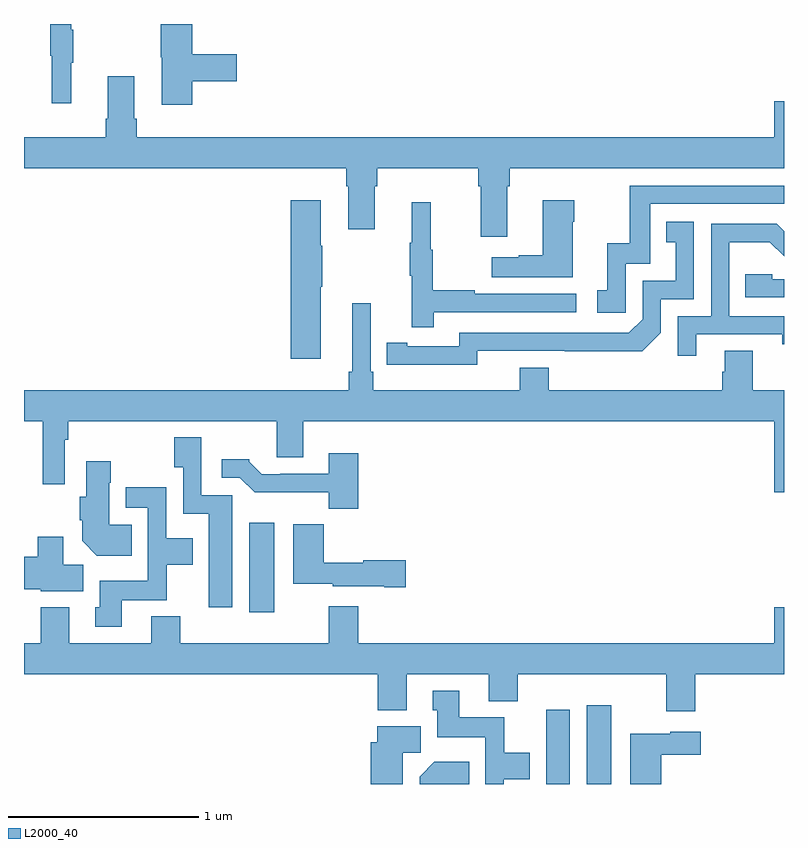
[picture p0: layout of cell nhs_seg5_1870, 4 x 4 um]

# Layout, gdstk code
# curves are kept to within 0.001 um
import gdstk
lib = gdstk.Library(unit=1e-6, precision=1e-09)
def R(c, l, rs):  # rectangles x0, y0, x1, y1
    for r in rs: c.add(gdstk.rectangle(r[:2], r[2:], *l))
def P(c, l, *ps):  # polygons
    for p in ps: c.add(gdstk.Polygon(p, *l))
L2000_40 = (2000, 40)

nhs_seg5_1870 = lib.new_cell('nhs_seg5_1870')
R(nhs_seg5_1870, L2000_40, [(223.748,906.799,223.873,907.189), (223.961,906.799,224.092,907.213), (222.185,907.704,222.316,908.173)])
P(nhs_seg5_1870, L2000_40, [(221.885,910.498),(222.121,910.498),(222.121,910.64),(221.885,910.64),(221.885,910.799),(221.719,910.799),(221.719,910.623),(221.726,910.623),(221.726,910.374),(221.885,910.374)],
  [(221.249,910.595),(221.26,910.595),(221.26,910.769),(221.249,910.769),(221.249,910.799),(221.139,910.799),(221.139,910.632),(221.146,910.632),(221.146,910.383),(221.249,910.383)],
  [(221.594,910.3),(221.581,910.3),(221.581,910.525),(221.441,910.525),(221.441,910.3),(221.429,910.3),(221.429,910.204),(221,910.204),(221,910.04),(222.695,910.04),(222.695,909.944),(222.707,909.944),(222.707,909.72),(222.847,909.72),(222.847,909.944),(222.86,909.944),(222.86,910.04),(223.391,910.04),(223.391,909.944),(223.403,909.944),(223.403,909.678),(223.543,909.678),(223.543,909.944),(223.556,909.944),(223.556,910.04),(225,910.04),(225,910.393),(224.948,910.393),(224.948,910.204),(221.594,910.204)],
  [(224.166,909.537),(224.295,909.537),(224.295,909.852),(225,909.852),(225,909.948),(224.187,909.948),(224.187,909.646),(224.069,909.646),(224.069,909.399),(224.016,909.399),(224.016,909.279),(224.166,909.279)],
  [(222.562,909.415),(222.57,909.415),(222.57,909.632),(222.562,909.632),(222.562,909.871),(222.404,909.871),(222.404,909.036),(222.562,909.036)],
  [(223.888,909.758),(223.896,909.758),(223.896,909.871),(223.73,909.871),(223.73,909.581),(223.604,909.581),(223.604,909.571),(223.461,909.571),(223.461,909.467),(223.888,909.467)],
  [(223.157,909.282),(223.906,909.282),(223.906,909.378),(223.373,909.378),(223.373,909.398),(223.15,909.398),(223.15,909.612),(223.142,909.612),(223.142,909.862),(223.04,909.862),(223.04,909.649),(223.029,909.649),(223.029,909.475),(223.04,909.475),(223.04,909.204),(223.157,909.204)],
  [(223.386,909.078),(224.254,909.077),(224.352,909.174),(224.352,909.351),(224.526,909.351),(224.526,909.757),(224.38,909.757),(224.38,909.651),(224.429,909.651),(224.429,909.447),(224.256,909.447),(224.256,909.246),(224.184,909.174),(223.29,909.174),(223.29,909.102),(223.018,909.102),(223.018,909.122),(222.91,909.122),(222.91,909.006),(223.386,909.005)],
  [(224.539,909.165),(224.99,909.165),(224.99,909.114),(225,909.114),(225,909.261),(224.712,909.261),(224.712,909.65),(224.926,909.65),(225,909.576),(225,909.709),(224.962,909.747),(224.616,909.747),(224.616,909.261),(224.442,909.261),(224.442,909.054),(224.539,909.054)],
  [(225,909.456),(224.937,909.456),(224.937,909.483),(224.797,909.483),(224.797,909.36),(225,909.36)],
  [(225,908.872),(224.835,908.872),(224.835,909.08),(224.687,909.08),(224.687,908.97),(224.675,908.97),(224.675,908.872),(223.763,908.872),(223.763,908.989),(223.61,908.989),(223.61,908.872),(222.839,908.872),(222.839,908.968),(222.825,908.968),(222.825,909.328),(222.728,909.328),(222.728,908.968),(222.709,908.968),(222.709,908.872),(221,908.872),(221,908.708),(221.098,908.708),(221.098,908.376),(221.214,908.376),(221.214,908.612),(221.234,908.612),(221.234,908.708),(222.329,908.708),(222.329,908.518),(222.469,908.518),(222.469,908.708),(224.948,908.708),(224.948,908.334),(225,908.334)],
  [(222.097,908.319),(221.934,908.319),(221.934,908.623),(221.791,908.623),(221.791,908.467),(221.838,908.467),(221.838,908.222),(221.972,908.222),(221.972,907.728),(222.097,907.728)],
  [(222.758,908.539),(222.605,908.539),(222.605,908.433),(222.349,908.433),(222.349,908.43),(222.25,908.43),(222.186,908.494),(222.186,908.509),(222.042,908.509),(222.042,908.412),(222.135,908.412),(222.214,908.334),(222.603,908.334),(222.603,908.249),(222.758,908.249)],
  [(221.567,908.164),(221.449,908.164),(221.449,908.384),(221.457,908.384),(221.457,908.497),(221.327,908.497),(221.327,908.31),(221.294,908.31),(221.294,908.188),(221.306,908.188),(221.306,908.078),(221.384,908),(221.567,908)],
  [(221.515,907.766),(221.751,907.766),(221.751,907.952),(221.887,907.952),(221.887,908.092),(221.748,908.092),(221.748,908.362),(221.535,908.362),(221.535,908.253),(221.652,908.253),(221.652,907.87),(221.399,907.87),(221.399,907.728),(221.375,907.728),(221.375,907.626),(221.515,907.626)],
  [(223.009,907.976),(222.786,907.976),(222.786,907.963),(222.578,907.963),(222.578,908.167),(222.416,908.167),(222.416,907.853),(222.624,907.853),(222.624,907.841),(222.896,907.841),(222.896,907.834),(223.009,907.834)],
  [(221.311,907.952),(221.206,907.952),(221.206,908.101),(221.072,908.101),(221.072,907.994),(221,907.994),(221,907.823),(221.088,907.823),(221.088,907.814),(221.311,907.814)],
  [(224.534,907.376),(225,907.376),(225,907.729),(224.948,907.729),(224.948,907.54),(222.758,907.54),(222.758,907.735),(222.605,907.735),(222.605,907.54),(221.822,907.54),(221.822,907.681),(221.669,907.681),(221.669,907.54),(221.239,907.54),(221.239,907.729),(221.087,907.729),(221.087,907.54),(221,907.54),(221,907.376),(222.863,907.376),(222.863,907.187),(223.015,907.187),(223.015,907.376),(223.445,907.376),(223.445,907.235),(223.598,907.235),(223.598,907.376),(224.381,907.376),(224.381,907.182),(224.534,907.182)],
  [(223.524,906.824),(223.663,906.824),(223.663,906.964),(223.527,906.964),(223.527,907.15),(223.291,907.15),(223.291,907.291),(223.151,907.291),(223.151,907.188),(223.175,907.188),(223.175,907.046),(223.428,907.046),(223.428,906.799),(223.524,906.799)],
  [(222.994,906.964),(223.087,906.964),(223.087,907.102),(222.86,907.102),(222.86,907.02),(222.824,907.02),(222.824,906.799),(222.994,906.799)],
  [(224.354,906.953),(224.563,906.953),(224.563,907.075),(224.4,907.075),(224.4,907.063),(224.192,907.063),(224.192,906.799),(224.354,906.799)],
  [(223.343,906.916),(223.16,906.916),(223.082,906.838),(223.082,906.799),(223.343,906.799)])

lib.write_gds('nhs_seg5_1870.gds')
